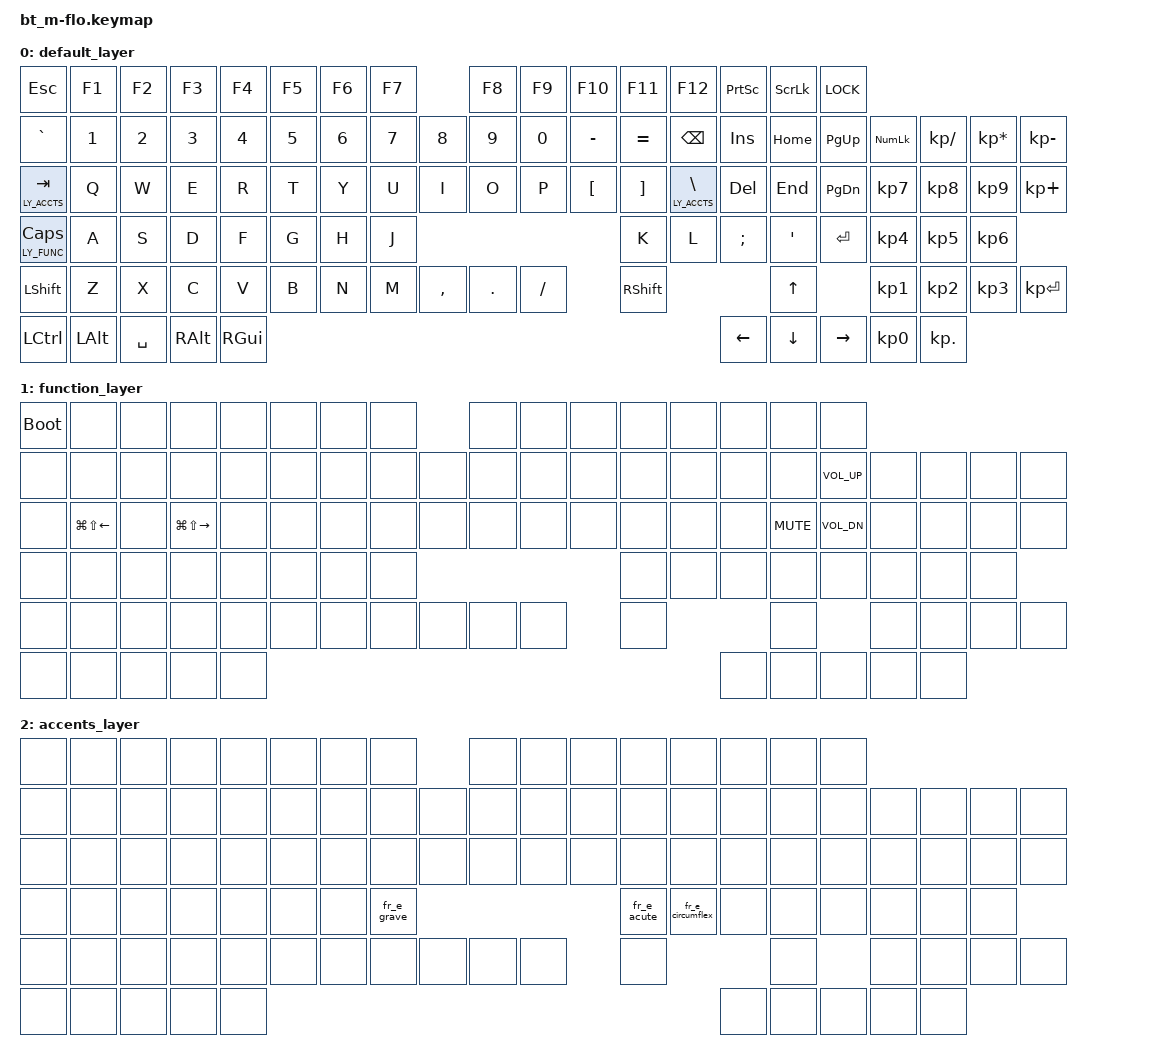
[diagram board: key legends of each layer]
/*
 * Copyright (c) 2020 The ZMK Contributors
 *
 * SPDX-License-Identifier: MIT
 */

#include <behaviors.dtsi>
#include <dt-bindings/zmk/keys.h>
#include <dt-bindings/zmk/backlight.h>
#include <dt-bindings/zmk/bt.h>
#include <dt-bindings/zmk/ext_power.h>
#include <dt-bindings/zmk/outputs.h>
#include <dt-bindings/zmk/rgb.h>

#define HOST_OS 1  // set to 1 for Linux, default is 0 (Windows)
#include "../zmk-nodefree-config/helper.h"

#include "../zmk-nodefree-config/international_chars/french.dtsi"



/*
 * Layers
 */

#define LY_DEFAULT 0
#define LY_FUNC    1
#define LY_ACCTS   2


/*
 * Shortcuts
 */
#define LT_CAPS &lt LY_FUNC  CLCK
#define LT_TAB  &lt LY_ACCTS TAB
#define LT_BSLH &lt LY_ACCTS BSLH

#define KP_SCR_PRV &kp LG(LS(LEFT))
#define KP_SCR_NXT &kp LG(LS(RIGHT))

#define E_GRAV &fr_e_grave
#define E_CUTE &fr_e_acute
#define E_CIRC &fr_e_circumflex

/ {
    keymap0: keymap {
        compatible = "zmk,keymap";

        default_layer {
            bindings = <
&kp ESC    &kp F1  &kp F2  &kp F3  &kp F4     &kp F5  &kp F6  &kp F7  &kp F8      &kp F9  &kp F10  &kp F11   &kp F12       &kp PSCRN  &kp SLCK    &kp K_LOCK
&kp GRAVE  &kp N1    &kp N2 &kp N3 &kp N4 &kp N5 &kp N6 &kp N7 &kp N8    &kp N9  &kp N0   &kp MINUS &kp EQUAL &kp BSPC     &kp INS    &kp HOME    &kp PG_UP       &kp KP_NUM &kp KP_SLASH &kp KP_MULTIPLY &kp KP_MINUS
LT_TAB     &kp Q     &kp W  &kp E  &kp R  &kp T  &kp Y  &kp U  &kp I     &kp  O  &kp   P  &kp LBKT  &kp RBKT  LT_BSLH      &kp DEL    &kp END     &kp PG_DN       &kp KP_N7  &kp KP_N8    &kp KP_N9       &kp KP_PLUS
LT_CAPS    &kp A     &kp S  &kp D  &kp F  &kp G  &kp H  &kp J  &kp K     &kp  L  &kp SEMI &kp SQT           &kp RET                                               &kp KP_N4  &kp KP_N5    &kp KP_N6
&kp LSHFT  &kp Z     &kp X  &kp C  &kp V  &kp B  &kp N  &kp M  &kp COMMA &kp DOT &kp FSLH         &kp RSHFT                           &kp UP                      &kp KP_N1  &kp KP_N2    &kp KP_N3       &kp KP_ENTER
&kp LCTRL          &kp LALT               &kp SPACE                                         &kp RALT          &kp RGUI     &kp LEFT   &kp DOWN    &kp RIGHT       &kp KP_N0  &kp KP_DOT
            >;
        };

        
        function_layer {
            bindings = <
&bootloader  &none  &none  &none  &none       &none  &none  &none  &none      &none  &none  &none   &none       &none  &none  &none
&none        &none     &none    &none  &none  &none  &none  &none  &none  &none  &none  &none  &none  &none     &none  &none  &kp C_VOL_UP &none  &none  &none  &none
&none      KP_SCR_PRV  &none KP_SCR_NXT &none &none  &none  &none  &none  &none  &none  &none  &none  &none  &none &kp C_MUTE &kp C_VOL_DN &none  &none  &none  &none
&none        &none     &none    &none  &none  &none  &none  &none  &none  &none  &none  &none         &none                                &none  &none  &none
&none        &none     &none    &none  &none  &none  &none  &none  &none  &none  &none         &none                   &none               &none  &none  &none  &none
&none                   &none                 &none                                    &none          &none     &none  &none  &none        &none  &none
            >;
        };

        accents_layer {
            bindings = <
&none   &none  &none  &none  &none    &none  &none  &none  &none    &none  &none  &none   &none       &none  &none  &none
&none &none  &none  &none  &none  &none  &none  &none  &none  &none  &none  &none  &none  &none       &none  &none  &none       &none  &none  &none  &none
&none &none  &none  &none  &none  &none  &none  &none  &none  &none  &none  &none  &none  &none       &none  &none  &none       &none  &none  &none  &none
&none &none  &none  &none  &none  &none  &none  E_GRAV E_CUTE E_CIRC  &none  &none         &none                                 &none  &none  &none
&none &none  &none  &none  &none  &none  &none  &none  &none  &none  &none         &none                     &none              &none  &none  &none  &none
&none                &none                      &none                      &none          &none       &none  &none  &none       &none  &none
            >;
        };

/*
        empty_layer {
            bindings = <
&none   &none  &none  &none  &none    &none  &none  &none  &none    &none  &none  &none   &none       &none  &none  &none
&none &none  &none  &none  &none  &none  &none  &none  &none  &none  &none  &none  &none  &none       &none  &none  &none       &none  &none  &none  &none
&none &none  &none  &none  &none  &none  &none  &none  &none  &none  &none  &none  &none  &none       &none  &none  &none       &none  &none  &none  &none
&none &none  &none  &none  &none  &none  &none  &none  &none  &none  &none  &none         &none                                 &none  &none  &none
&none &none  &none  &none  &none  &none  &none  &none  &none  &none  &none         &none                     &none              &none  &none  &none  &none
&none                &none                      &none                      &none          &none       &none  &none  &none       &none  &none
            >;
        };
*/

        /*
        default_layer {
// ------------------------------------------------------------------------------------------
// | ESC |  1  |  2  |  3  |  4  |  5  |  6  |  7  |  8  |  9  |  0  |  -  |  =  |   BKSP   |
// | TAB  |  Q  |  W  |  E  |  R  |  T  |  Y  |  U  |  I  |  O  |  P  |  [  |  ]  |    \    |
// | CAPS  |  A  |  S  |  D  |  F  |  G  |  H  |  J  |  K  |  L  |  ;  |  '  |     ENTER    |
// |  SHIFT  |  Z  |  X  |  C  |  V  |  B  |  N  |  M  |  ,  |  .  |  /  |      SHIFT       |
// |  CTL  |  WIN  |  ALT  |            SPACE               | ALT | MO(1) |  WIN  | CTRL    |
// ------------------------------------------------------------------------------------------
            bindings = <
    &kp ESC &kp N1 &kp N2 &kp N3 &kp N4 &kp N5 &kp N6 &kp N7 &kp   N8  &kp  N9 &kp  N0  &kp MINUS &kp EQUAL &kp BSPC
    &kp TAB  &kp Q  &kp W  &kp E  &kp R  &kp T  &kp Y  &kp U  &kp   I   &kp  O  &kp   P  &kp LBKT &kp RBKT  &kp BSLH
    &kp CLCK  &kp A  &kp S  &kp D  &kp F  &kp G  &kp H  &kp J  &kp   K   &kp  L  &kp SEMI &kp SQT           &kp RET
    &kp LSHFT  &kp Z  &kp X  &kp C  &kp V  &kp B  &kp N  &kp M  &kp COMMA &kp DOT &kp FSLH         &kp RSHFT
    &kp LCTRL &kp LGUI &kp LALT               &kp SPACE                 &kp  RALT  &mo  1  &kp  RGUI  &kp  RCTRL
            >;
        };

        fn_layer {
            bindings = <
&kp GRAVE  &kp F1     &kp F2     &kp F3     &kp F4     &kp F5     &kp F6     &kp F7     &kp F8     &kp F9     &kp F10    &kp F11    &kp F12    &bootloader
&trans         &bt BT_CLR &none      &none      &none      &none      &none      &none      &none      &none      &none      &none      &none      &sys_reset
&trans           &bt BT_SEL 0 &bt BT_SEL 1 &bt BT_SEL 2 &bt BT_SEL 3 &bt BT_SEL 4 &kp LEFT   &kp DOWN   &kp UP   &kp RIGHT   &none      &none      &trans
&trans                &none      &none      &none      &none      &none      &none      &none      &none      &none      &none      &trans
&trans       &trans       &trans       &trans                                                                     &trans     &trans     &trans     &trans
            >;
        };

        */
    };
};
